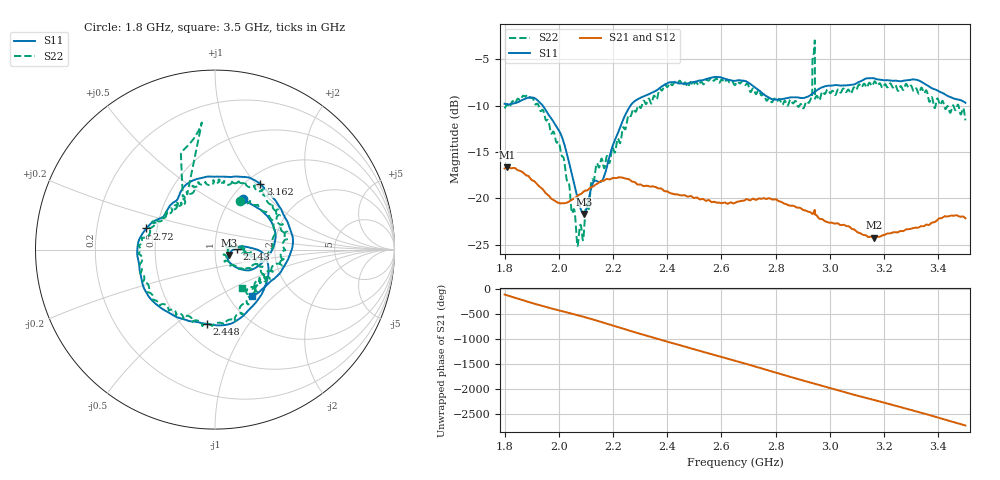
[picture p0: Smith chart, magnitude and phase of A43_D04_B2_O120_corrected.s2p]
! Created with skrf 1.9.0 (http://scikit-rf.org).
# Hz S RI R 50.0
!freq ReS11 ImS11 ReS21 ImS21 ReS12 ImS12 ReS22 ImS22
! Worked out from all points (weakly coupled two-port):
!   1601 points, 1.8 GHz to 3.5 GHz, reference 50 ohm
!   highest |S21| = -16.67 dB at 1.811 GHz (marker M1); lowest = -24.3 dB at 3.162 GHz (marker M2)
!   lowest |S11| = -21.7 dB at 2.092 GHz (marker M3), VSWR 1.18, Z = 58.2 - j3.5 ohm
!   |S11| at or under -10 dB: 1.941 GHz to 2.264 GHz (323.1 MHz wide, 15.4 % of centre)
!   |S22| runs from -25.2 to -3.0 dB; largest |S21 - S12| = 0.0023
!   S11 on the Smith chart (normalised r, x): 1.8 GHz: 1.13, +0.72; 2.143 GHz: 1.28, +0.01; 2.448 GHz: 0.66, -0.66; 2.72 GHz: 0.44, +0.12; 3.162 GHz: 1.16, +1.06; 3.5 GHz: 1.27, -0.73
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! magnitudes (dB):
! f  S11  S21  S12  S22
! 1.8 GHz  -9.8  -16.8  -16.8  -10.3
! 1.811 GHz  -9.9  -16.7  -16.7  -9.9
! 1.884 GHz  -9.2  -17.5  -17.6  -8.8
! 1.942 GHz  -10.1  -19.1  -19.1  -10.5
! 2.013 GHz  -13.5  -20.5  -20.5  -15.5
! 2.067 GHz  -19.7  -19.8  -19.8  -24.8
! 2.084 GHz  -21.4  -19.5  -19.4  -23.3
! 2.092 GHz  -21.7  -19.3  -19.3  -23.9
! 2.143 GHz  -18.2  -18.4  -18.4  -16.3
! 2.262 GHz  -10.1  -18.0  -18.0  -11.1
! 2.367 GHz  -8.2  -18.9  -18.9  -8.6
! 2.448 GHz  -7.6  -19.7  -19.7  -7.3
! 2.65 GHz  -7.3  -20.5  -20.5  -7.8
! 2.72 GHz  -8.0  -20.1  -20.0  -8.3
! 2.901 GHz  -9.2  -21.2  -21.3  -10.3
! 2.926 GHz  -8.9  -21.5  -21.5  -9.5
! 2.934 GHz  -8.7  -21.7  -21.6  -9.2
! 2.944 GHz  -8.5  -21.3  -21.3  -3.0
! 2.956 GHz  -8.3  -22.0  -22.0  -9.1
! 3.162 GHz  -7.0  -24.3  -24.2  -7.5
! 3.217 GHz  -7.3  -23.8  -23.8  -7.8
! 3.5 GHz  -9.7  -22.2  -22.1  -11.6
